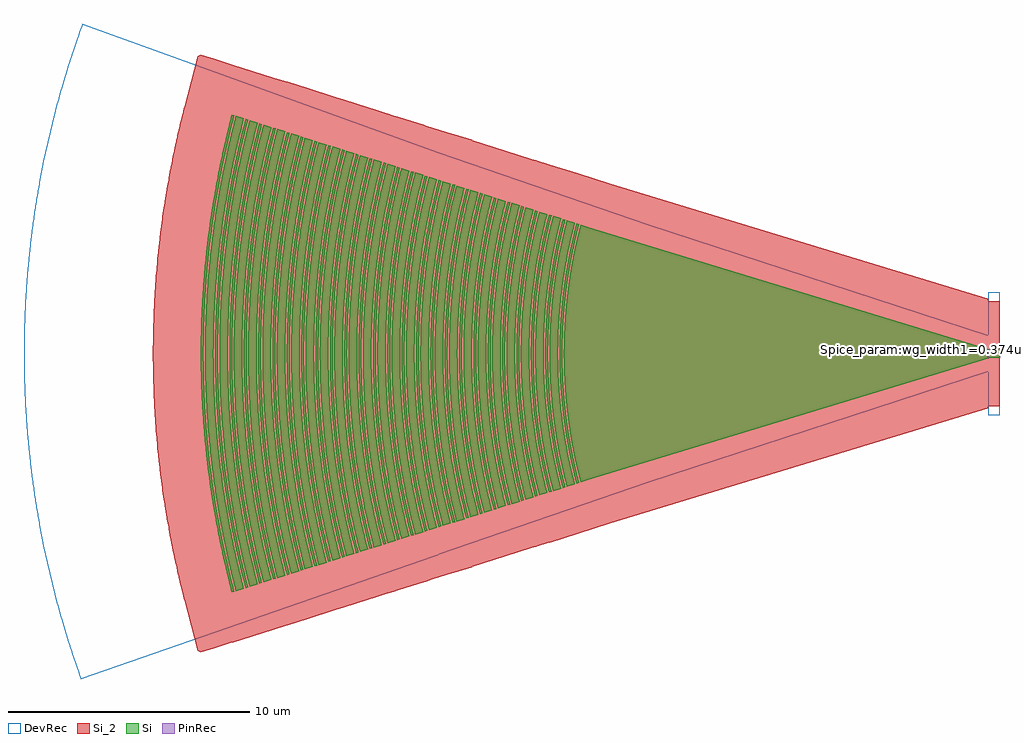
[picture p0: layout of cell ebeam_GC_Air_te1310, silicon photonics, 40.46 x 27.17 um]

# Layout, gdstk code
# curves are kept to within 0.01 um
import gdstk
lib = gdstk.Library(unit=1e-6, precision=1e-09)
def R(c, l, rs):  # rectangles x0, y0, x1, y1
    for r in rs: c.add(gdstk.rectangle(r[:2], r[2:], *l))
def P(c, l, *ps):  # polygons
    for p in ps: c.add(gdstk.Polygon(p, *l))
Si = (1, 0)
Si_2 = (1, 2)
PinRec = (1, 10)
DevRec = (68, 0)

ebeam_gc_air_te1310 = lib.new_cell('ebeam_GC_Air_te1310')
P(ebeam_gc_air_te1310, Si, [(-0.48,-0.187),(-0.48,0.187),(0,0.175),(0,-0.175)],
  [(-31.833,-9.902),(-32.125,-8.725),(-32.351,-7.68),(-32.569,-6.508),(-32.776,-5.144),(-32.916,-3.964),(-33.028,-2.654),(-33.091,-1.469),(-33.119,0.031),(-33.091,1.47),(-33.028,2.655),(-32.916,3.965),(-32.776,5.145),(-32.569,6.509),(-32.351,7.681),(-32.125,8.726),(-31.832,9.903),(-31.73,9.871),(-32.061,8.514),(-32.317,7.288),(-32.552,5.932),(-32.739,4.572),(-32.85,3.517),(-32.932,2.461),(-32.987,1.34),(-33.01,0.157),(-32.995,-1.09),(-32.947,-2.211),(-32.85,-3.516),(-32.739,-4.571),(-32.552,-5.931),(-32.317,-7.287),(-32.061,-8.513),(-31.73,-9.87)],
  [(-31.662,-9.848),(-31.966,-8.617),(-32.249,-7.271),(-32.474,-5.979),(-32.647,-4.746),(-32.78,-3.508),(-32.873,-2.268),(-32.926,-1.025),(-32.939,0.218),(-32.912,1.462),(-32.845,2.703),(-32.738,3.943),(-32.591,5.179),(-32.404,6.412),(-32.189,7.578),(-31.924,8.8),(-31.661,9.849),(-31.333,9.746),(-31.604,8.648),(-31.84,7.56),(-32.054,6.405),(-32.241,5.186),(-32.395,3.901),(-32.505,2.613),(-32.567,1.446),(-32.594,0.155),(-32.581,-1.014),(-32.521,-2.367),(-32.425,-3.593),(-32.305,-4.696),(-32.124,-5.978),(-31.888,-7.316),(-31.632,-8.526),(-31.333,-9.745)],
  [(-31.261,-9.722),(-31.562,-8.506),(-31.818,-7.298),(-32.054,-5.963),(-32.227,-4.746),(-32.366,-3.463),(-32.458,-2.239),(-32.507,-1.134),(-32.524,0.031),(-32.507,1.135),(-32.458,2.24),(-32.366,3.464),(-32.227,4.747),(-32.054,5.964),(-31.818,7.299),(-31.562,8.507),(-31.26,9.723),(-31.158,9.691),(-31.456,8.479),(-31.723,7.216),(-31.956,5.885),(-32.149,4.488),(-32.274,3.269),(-32.346,2.293),(-32.4,1.071),(-32.415,0.154),(-32.405,-0.886),(-32.36,-2.048),(-32.274,-3.268),(-32.149,-4.487),(-31.956,-5.884),(-31.723,-7.215),(-31.456,-8.478),(-31.158,-9.69)],
  [(-31.09,-9.668),(-31.389,-8.459),(-31.655,-7.197),(-31.878,-5.93),(-32.042,-4.78),(-32.188,-3.443),(-32.283,-2.165),(-32.333,-0.945),(-32.344,0.275),(-32.313,1.557),(-32.252,2.653),(-32.153,3.81),(-31.994,5.145),(-31.798,6.415),(-31.559,7.679),(-31.319,8.759),(-31.089,9.669),(-30.761,9.566),(-31.041,8.428),(-31.271,7.36),(-31.509,6.047),(-31.677,4.91),(-31.791,3.949),(-31.903,2.686),(-31.977,1.298),(-31.999,0.152),(-31.981,-1.176),(-31.931,-2.263),(-31.833,-3.527),(-31.7,-4.729),(-31.538,-5.867),(-31.306,-7.181),(-31.068,-8.309),(-30.761,-9.565)],
  [(-30.689,-9.541),(-30.971,-8.407),(-31.236,-7.163),(-31.458,-5.913),(-31.63,-4.718),(-31.757,-3.578),(-31.857,-2.317),(-31.914,-1.053),(-31.929,0.03),(-31.914,1.054),(-31.857,2.318),(-31.757,3.579),(-31.63,4.719),(-31.458,5.914),(-31.236,7.164),(-30.971,8.408),(-30.688,9.542),(-30.585,9.51),(-30.932,8.085),(-31.186,6.844),(-31.388,5.657),(-31.566,4.345),(-31.687,3.149),(-31.752,2.251),(-31.8,1.231),(-31.82,0.151),(-31.81,-0.87),(-31.766,-2.01),(-31.687,-3.148),(-31.566,-4.344),(-31.388,-5.656),(-31.186,-6.843),(-30.932,-8.084),(-30.585,-9.509)],
  [(-30.518,-9.488),(-30.812,-8.301),(-31.05,-7.181),(-31.263,-5.998),(-31.437,-4.81),(-31.543,-3.917),(-31.65,-2.722),(-31.721,-1.467),(-31.749,-0.269),(-31.735,1.048),(-31.682,2.245),(-31.585,3.499),(-31.445,4.751),(-31.263,5.999),(-31.05,7.182),(-30.812,8.302),(-30.518,9.489),(-30.19,9.385),(-30.464,8.269),(-30.678,7.28),(-30.904,6.051),(-31.088,4.818),(-31.23,3.579),(-31.318,2.517),(-31.378,1.392),(-31.404,0.149),(-31.388,-1.095),(-31.33,-2.338),(-31.23,-3.578),(-31.088,-4.817),(-30.904,-6.05),(-30.678,-7.279),(-30.464,-8.268),(-30.19,-9.384)],
  [(-30.118,-9.361),(-30.434,-8.074),(-30.654,-7.027),(-30.872,-5.801),(-31.033,-4.687),(-31.148,-3.687),(-31.252,-2.45),(-31.312,-1.27),(-31.334,-0.03),(-31.314,1.211),(-31.252,2.451),(-31.148,3.688),(-31.033,4.688),(-30.872,5.802),(-30.654,7.028),(-30.434,8.075),(-30.118,9.362),(-30.013,9.33),(-30.275,8.278),(-30.536,7.063),(-30.774,5.724),(-30.947,4.497),(-31.079,3.265),(-31.155,2.267),(-31.209,1.09),(-31.225,0.148),(-31.215,-0.853),(-31.172,-1.972),(-31.109,-2.913),(-30.996,-4.086),(-30.819,-5.432),(-30.603,-6.713),(-30.301,-8.163),(-30.013,-9.329)],
  [(-29.947,-9.307),(-30.248,-8.085),(-30.491,-6.929),(-30.696,-5.768),(-30.856,-4.66),(-30.993,-3.432),(-31.081,-2.319),(-31.142,-0.969),(-31.154,0.265),(-31.124,1.499),(-31.057,2.671),(-30.952,3.843),(-30.833,4.836),(-30.696,5.769),(-30.491,6.93),(-30.248,8.086),(-29.946,9.308),(-29.618,9.205),(-29.861,8.224),(-30.131,6.968),(-30.347,5.762),(-30.499,4.725),(-30.627,3.626),(-30.729,2.41),(-30.779,1.481),(-30.809,0.146),(-30.795,-1.016),(-30.74,-2.235),(-30.644,-3.452),(-30.514,-4.608),(-30.347,-5.761),(-30.131,-6.967),(-29.861,-8.223),(-29.618,-9.204)],
  [(-29.546,-9.181),(-29.804,-8.146),(-30.061,-6.949),(-30.286,-5.69),(-30.451,-4.539),(-30.568,-3.502),(-30.666,-2.287),(-30.723,-1.071),(-30.739,0.029),(-30.723,1.072),(-30.666,2.288),(-30.568,3.503),(-30.421,4.77),(-30.286,5.691),(-30.061,6.95),(-29.804,8.147),(-29.545,9.182),(-29.443,9.15),(-29.763,7.835),(-30.02,6.584),(-30.232,5.328),(-30.392,4.122),(-30.497,3.088),(-30.568,2.108),(-30.616,1.011),(-30.63,0.145),(-30.619,-0.894),(-30.578,-1.933),(-30.502,-3.029),(-30.392,-4.121),(-30.232,-5.327),(-30.02,-6.583),(-29.763,-7.834),(-29.443,-9.149)],
  [(-29.375,-9.127),(-29.605,-8.211),(-29.875,-6.965),(-30.11,-5.656),(-30.274,-4.512),(-30.417,-3.194),(-30.498,-2.101),(-30.55,-0.835),(-30.559,0.26),(-30.532,1.412),(-30.468,2.562),(-30.373,3.654),(-30.244,4.742),(-30.082,5.828),(-29.864,7.022),(-29.605,8.212),(-29.374,9.128),(-29.046,9.025),(-29.336,7.839),(-29.571,6.719),(-29.761,5.649),(-29.925,4.519),(-30.063,3.271),(-30.143,2.249),(-30.197,1.111),(-30.214,0.143),(-30.197,-1.11),(-30.143,-2.248),(-30.063,-3.27),(-29.925,-4.518),(-29.761,-5.648),(-29.571,-6.718),(-29.336,-7.838),(-29.046,-9.024)],
  [(-28.974,-9.001),(-29.24,-7.93),(-29.457,-6.924),(-29.663,-5.803),(-29.847,-4.563),(-29.987,-3.32),(-30.076,-2.186),(-30.13,-0.993),(-30.144,0.028),(-30.13,0.994),(-30.065,2.357),(-29.965,3.547),(-29.847,4.564),(-29.663,5.804),(-29.457,6.925),(-29.24,7.931),(-28.973,9.002),(-28.871,8.97),(-29.16,7.791),(-29.405,6.622),(-29.619,5.39),(-29.782,4.21),(-29.879,3.308),(-29.964,2.236),(-30.018,1.104),(-30.035,0.143),(-30.027,-0.763),(-29.981,-1.952),(-29.914,-2.913),(-29.802,-4.04),(-29.653,-5.165),(-29.437,-6.453),(-29.185,-7.679),(-28.871,-8.969)],
  [(-28.803,-8.947),(-29.055,-7.937),(-29.294,-6.827),(-29.478,-5.823),(-29.663,-4.591),(-29.804,-3.356),(-29.894,-2.229),(-29.951,-0.987),(-29.964,0.255),(-29.945,1.159),(-29.894,2.23),(-29.804,3.357),(-29.663,4.592),(-29.478,5.824),(-29.294,6.828),(-29.055,7.938),(-28.802,8.948),(-28.474,8.845),(-28.746,7.737),(-28.946,6.805),(-29.157,5.646),(-29.314,4.595),(-29.444,3.484),(-29.542,2.316),(-29.604,1.033),(-29.619,0.141),(-29.604,-1.032),(-29.542,-2.315),(-29.444,-3.483),(-29.314,-4.594),(-29.157,-5.645),(-28.946,-6.804),(-28.746,-7.736),(-28.474,-8.844)],
  [(-28.403,-8.82),(-28.676,-7.716),(-28.919,-6.566),(-29.131,-5.355),(-29.251,-4.526),(-29.368,-3.53),(-29.468,-2.364),(-29.532,-1.085),(-29.549,-0.028),(-29.532,1.086),(-29.479,2.198),(-29.39,3.309),(-29.251,4.527),(-29.131,5.356),(-28.919,6.567),(-28.676,7.717),(-28.403,8.821),(-28.298,8.789),(-28.57,7.689),(-28.833,6.434),(-29.015,5.391),(-29.192,4.125),(-29.282,3.297),(-29.374,2.135),(-29.425,1.026),(-29.44,0.14),(-29.428,-0.914),(-29.384,-1.968),(-29.317,-2.909),(-29.218,-3.904),(-29.074,-5.005),(-28.854,-6.323),(-28.619,-7.471),(-28.298,-8.788)],
  [(-28.232,-8.767),(-28.528,-7.56),(-28.755,-6.471),(-28.955,-5.322),(-29.116,-4.169),(-29.247,-2.901),(-29.32,-1.853),(-29.363,-0.691),(-29.369,0.25),(-29.341,1.412),(-29.293,2.295),(-29.196,3.454),(-29.074,4.5),(-28.92,5.543),(-28.734,6.581),(-28.503,7.67),(-28.231,8.768),(-27.903,8.664),(-28.169,7.579),(-28.386,6.558),(-28.589,5.423),(-28.725,4.501),(-28.847,3.467),(-28.945,2.323),(-29.006,1.121),(-29.024,0.138),(-29.011,-0.956),(-28.969,-1.94),(-28.889,-3.031),(-28.767,-4.174),(-28.615,-5.259),(-28.407,-6.449),(-28.169,-7.578),(-27.903,-8.663)],
  [(-27.831,-8.64),(-28.111,-7.505),(-28.347,-6.378),(-28.536,-5.299),(-28.69,-4.217),(-28.793,-3.295),(-28.892,-2.044),(-28.939,-1.008),(-28.954,0.083),(-28.939,1.009),(-28.878,2.262),(-28.793,3.296),(-28.662,4.435),(-28.51,5.462),(-28.305,6.593),(-28.074,7.666),(-27.83,8.641),(-27.728,8.609),(-28.041,7.318),(-28.271,6.194),(-28.454,5.119),(-28.615,3.933),(-28.715,2.959),(-28.787,1.983),(-28.825,1.168),(-28.845,0.137),(-28.836,-0.787),(-28.787,-1.982),(-28.715,-2.958),(-28.615,-3.932),(-28.454,-5.118),(-28.271,-6.193),(-28.029,-7.371),(-27.728,-8.608)],
  [(-27.66,-8.586),(-27.914,-7.564),(-28.152,-6.444),(-28.343,-5.373),(-28.506,-4.244),(-28.65,-2.895),(-28.72,-1.923),(-28.763,-0.893),(-28.774,0.245),(-28.742,1.491),(-28.696,2.302),(-28.599,3.437),(-28.478,4.461),(-28.334,5.429),(-28.131,6.552),(-27.914,7.565),(-27.659,8.587),(-27.331,8.484),(-27.639,7.211),(-27.825,6.315),(-28.003,5.31),(-28.164,4.195),(-28.277,3.182),(-28.362,2.114),(-28.413,1.044),(-28.429,0.135),(-28.419,-0.829),(-28.372,-1.953),(-28.292,-3.021),(-28.164,-4.194),(-28.003,-5.309),(-27.825,-6.314),(-27.639,-7.21),(-27.331,-8.483)],
  [(-27.259,-8.46),(-27.473,-7.609),(-27.734,-6.402),(-27.933,-5.295),(-28.087,-4.235),(-28.196,-3.279),(-28.295,-2.054),(-28.341,-1.094),(-28.359,0.081),(-28.341,1.095),(-28.288,2.162),(-28.196,3.28),(-28.087,4.236),(-27.933,5.296),(-27.734,6.403),(-27.473,7.61),(-27.258,8.461),(-27.156,8.429),(-27.451,7.216),(-27.688,6.065),(-27.899,4.802),(-28.031,3.797),(-28.118,2.949),(-28.19,1.994),(-28.234,1.037),(-28.25,0.134),(-28.24,-0.824),(-28.205,-1.728),(-28.132,-2.789),(-28.031,-3.796),(-27.899,-4.801),(-27.688,-6.064),(-27.451,-7.215),(-27.156,-8.428)],
  [(-27.088,-8.406),(-27.325,-7.457),(-27.57,-6.309),(-27.774,-5.156),(-27.93,-4.05),(-28.053,-2.887),(-28.123,-1.935),(-28.171,-0.769),(-28.179,0.24),(-28.15,1.407),(-28.099,2.307),(-28.013,3.312),(-27.882,4.42),(-27.74,5.367),(-27.539,6.467),(-27.325,7.458),(-27.087,8.407),(-26.758,8.304),(-26.979,7.417),(-27.202,6.388),(-27.417,5.197),(-27.568,4.157),(-27.695,3.01),(-27.772,2.017),(-27.815,1.127),(-27.834,0.132),(-27.82,-0.969),(-27.772,-2.016),(-27.695,-3.009),(-27.568,-4.156),(-27.417,-5.196),(-27.202,-6.387),(-26.979,-7.416),(-26.758,-8.303)],
  [(-26.687,-8.28),(-26.956,-7.191),(-27.132,-6.368),(-27.33,-5.285),(-27.491,-4.197),(-27.594,-3.313),(-27.695,-2.115),(-27.748,-1.018),(-27.764,0.079),(-27.748,1.019),(-27.695,2.116),(-27.594,3.314),(-27.491,4.198),(-27.33,5.286),(-27.132,6.369),(-26.956,7.192),(-26.686,8.281),(-26.583,8.249),(-26.85,7.164),(-27.105,5.935),(-27.288,4.854),(-27.416,3.923),(-27.526,2.886),(-27.593,2.004),(-27.641,0.963),(-27.655,0.131),(-27.645,-0.806),(-27.611,-1.691),(-27.544,-2.677),(-27.464,-3.507),(-27.319,-4.646),(-27.105,-5.934),(-26.85,-7.163),(-26.583,-8.248)],
  [(-26.516,-8.226),(-26.76,-7.246),(-26.968,-6.276),(-27.171,-5.148),(-27.314,-4.169),(-27.432,-3.137),(-27.513,-2.153),(-27.569,-1.011),(-27.584,-0.233),(-27.572,0.909),(-27.523,1.998),(-27.432,3.138),(-27.314,4.17),(-27.171,5.149),(-26.968,6.277),(-26.76,7.247),(-26.516,8.227),(-26.188,8.124),(-26.368,7.408),(-26.621,6.249),(-26.806,5.236),(-26.952,4.271),(-27.068,3.302),(-27.165,2.178),(-27.222,1.051),(-27.239,0.129),(-27.222,-1.05),(-27.175,-2.023),(-27.103,-2.943),(-26.998,-3.913),(-26.831,-5.084),(-26.641,-6.147),(-26.368,-7.407),(-26.188,-8.123)],
  [(-26.116,-8.099),(-26.39,-6.984),(-26.6,-5.978),(-26.761,-5.069),(-26.902,-4.105),(-27.023,-3.038),(-27.108,-1.966),(-27.15,-1.098),(-27.169,0.078),(-27.15,1.099),(-27.098,2.12),(-27.008,3.191),(-26.902,4.106),(-26.761,5.07),(-26.6,5.979),(-26.39,6.985),(-26.115,8.1),(-26.013,8.068),(-26.284,6.957),(-26.474,6.056),(-26.678,4.898),(-26.82,3.888),(-26.915,3.026),(-26.993,2.062),(-27.043,1.044),(-27.06,0.128),(-27.049,-0.839),(-27.017,-1.654),(-26.947,-2.669),(-26.862,-3.532),(-26.709,-4.695),(-26.522,-5.804),(-26.284,-6.956),(-26.013,-8.067)],
  [(-25.945,-8.046),(-26.206,-6.987),(-26.416,-5.988),(-26.577,-5.085),(-26.738,-3.977),(-26.85,-2.966),(-26.926,-2.004),(-26.976,-0.938),(-26.989,0.229),(-26.971,1.092),(-26.916,2.157),(-26.83,3.17),(-26.725,4.079),(-26.577,5.086),(-26.416,5.989),(-26.206,6.988),(-25.944,8.047),(-25.616,7.943),(-25.849,6.996),(-26.069,5.962),(-26.221,5.119),(-26.37,4.126),(-26.487,3.128),(-26.575,2.079),(-26.624,1.128),(-26.644,0.176),(-26.629,-0.976),(-26.575,-2.078),(-26.492,-3.077),(-26.396,-3.926),(-26.269,-4.821),(-26.069,-5.961),(-25.849,-6.995),(-25.616,-7.942)],
  [(-25.544,-7.919),(-25.79,-6.926),(-25.989,-5.992),(-26.159,-5.055),(-26.313,-4.014),(-26.436,-2.919),(-26.508,-2.022),(-26.557,-1.024),(-26.574,0.076),(-26.557,1.025),(-26.508,2.023),(-26.436,2.92),(-26.313,4.015),(-26.159,5.056),(-25.989,5.993),(-25.756,7.074),(-25.543,7.92),(-25.441,7.888),(-25.728,6.704),(-25.939,5.675),(-26.129,4.541),(-26.26,3.553),(-26.363,2.511),(-26.42,1.667),(-26.465,0.125),(-26.458,-0.671),(-26.42,-1.666),(-26.363,-2.51),(-26.26,-3.552),(-26.129,-4.54),(-25.939,-5.674),(-25.728,-6.703),(-25.441,-7.887)],
  [(-25.373,-7.865),(-25.606,-6.928),(-25.843,-5.804),(-26.015,-4.823),(-26.161,-3.789),(-26.276,-2.701),(-26.35,-1.662),(-26.384,-0.818),(-26.394,0.224),(-26.371,1.216),(-26.326,2.059),(-26.248,3),(-26.123,4.086),(-25.975,5.07),(-25.805,6.001),(-25.595,6.977),(-25.372,7.866),(-25.044,7.763),(-25.272,6.837),(-25.468,5.923),(-25.659,4.858),(-25.794,3.935),(-25.91,2.911),(-25.988,1.934),(-26.031,1.053),(-26.049,0.172),(-26.036,-0.905),(-25.988,-1.933),(-25.91,-2.91),(-25.794,-3.934),(-25.659,-4.857),(-25.468,-5.922),(-25.272,-6.836),(-25.044,-7.762)],
  [(-24.972,-7.739),(-25.202,-6.816),(-25.426,-5.759),(-25.589,-4.843),(-25.73,-3.873),(-25.83,-2.998),(-25.911,-2.025),(-25.964,-0.951),(-25.979,0.074),(-25.959,1.099),(-25.911,2.026),(-25.83,2.999),(-25.711,4.02),(-25.549,5.085),(-25.388,5.953),(-25.202,6.817),(-24.971,7.74),(-24.869,7.708),(-25.107,6.741),(-25.347,5.593),(-25.52,4.582),(-25.664,3.52),(-25.758,2.599),(-25.818,1.775),(-25.852,1.046),(-25.87,0.123),(-25.858,-0.85),(-25.818,-1.774),(-25.758,-2.598),(-25.664,-3.519),(-25.52,-4.581),(-25.347,-5.592),(-25.107,-6.74),(-24.869,-7.707)],
  [(-24.801,-7.685),(-25.029,-6.769),(-25.233,-5.814),(-25.421,-4.76),(-25.553,-3.846),(-25.657,-2.929),(-25.745,-1.817),(-25.788,-0.848),(-25.799,0.219),(-25.78,1.091),(-25.726,2.108),(-25.657,2.93),(-25.534,3.992),(-25.357,5.146),(-25.214,5.911),(-25.007,6.865),(-24.8,7.686),(-24.473,7.583),(-24.695,6.678),(-24.905,5.691),(-25.058,4.839),(-25.205,3.843),(-25.304,2.986),(-25.385,2.033),(-25.435,1.077),(-25.454,0.168),(-25.444,-0.789),(-25.406,-1.697),(-25.327,-2.747),(-25.211,-3.795),(-25.081,-4.696),(-24.905,-5.69),(-24.695,-6.677),(-24.473,-7.582)],
  [(-24.401,-7.559),(-24.625,-6.656),(-24.844,-5.625),(-25.003,-4.73),(-25.141,-3.783),(-25.243,-2.882),(-25.321,-1.93),(-25.366,-1.025),(-25.384,-0.071),(-25.372,0.835),(-25.324,1.884),(-25.243,2.883),(-25.141,3.784),(-25.003,4.731),(-24.844,5.626),(-24.625,6.657),(-24.401,7.56),(-24.296,7.528),(-24.572,6.397),(-24.773,5.415),(-24.933,4.475),(-25.068,3.485),(-25.153,2.681),(-25.227,1.686),(-25.262,0.879),(-25.275,0.12),(-25.266,-0.735),(-25.227,-1.685),(-25.165,-2.539),(-25.09,-3.295),(-24.954,-4.334),(-24.773,-5.414),(-24.572,-6.396),(-24.296,-7.527)],
  [(-24.23,-7.505),(-24.463,-6.563),(-24.651,-5.678),(-24.835,-4.649),(-24.97,-3.709),(-25.07,-2.814),(-25.154,-1.727),(-25.198,-0.64),(-25.204,0.214),(-25.182,1.161),(-25.126,2.153),(-25.051,3.004),(-24.939,3.945),(-24.812,4.791),(-24.642,5.725),(-24.42,6.75),(-24.229,7.506),(-23.901,7.403),(-24.097,6.611),(-24.305,5.647),(-24.48,4.678),(-24.61,3.798),(-24.708,2.962),(-24.785,2.078),(-24.835,1.191),(-24.859,0.165),(-24.849,-0.77),(-24.812,-1.657),(-24.735,-2.681),(-24.628,-3.658),(-24.495,-4.584),(-24.341,-5.462),(-24.149,-6.382),(-23.901,-7.402)],
  [(-23.829,-7.378),(-24.069,-6.407),(-24.262,-5.49),(-24.432,-4.525),(-24.575,-3.508),(-24.669,-2.628),(-24.739,-1.698),(-24.78,-0.722),(-24.789,0.07),(-24.77,1.049),(-24.718,2.024),(-24.628,3.046),(-24.521,3.925),(-24.379,4.848),(-24.244,5.583),(-24.048,6.499),(-23.828,7.379),(-23.726,7.347),(-23.963,6.38),(-24.19,5.285),(-24.374,4.185),(-24.489,3.309),(-24.622,1.831),(-24.663,0.997),(-24.68,0.117),(-24.67,-0.764),(-24.633,-1.645),(-24.573,-2.478),(-24.489,-3.308),(-24.374,-4.184),(-24.19,-5.284),(-23.963,-6.379),(-23.726,-7.346)],
  [(-23.658,-7.325),(-23.865,-6.496),(-24.096,-5.405),(-24.256,-4.491),(-24.392,-3.528),(-24.491,-2.608),(-24.563,-1.64),(-24.601,-0.717),(-24.609,0.209),(-24.591,1.041),(-24.536,2.056),(-24.455,2.977),(-24.344,3.896),(-24.219,4.721),(-24.033,5.724),(-23.865,6.497),(-23.657,7.326),(-23.329,7.222),(-23.531,6.405),(-23.75,5.375),(-23.887,4.609),(-24.021,3.706),(-24.112,2.935),(-24.195,1.981),(-24.244,1.071),(-24.264,0.161),(-24.253,-0.796),(-24.21,-1.753),(-24.139,-2.661),(-24.05,-3.478),(-23.909,-4.472),(-23.75,-5.374),(-23.531,-6.404),(-23.329,-7.221)],
  [(-23.257,-7.198),(-23.471,-6.339),(-23.671,-5.401),(-23.853,-4.369),(-23.974,-3.512),(-24.06,-2.744),(-24.134,-1.838),(-24.18,-0.886),(-24.194,0.068),(-24.177,0.978),(-24.134,1.839),(-24.06,2.745),(-23.974,3.513),(-23.853,4.37),(-23.671,5.402),(-23.471,6.34),(-23.256,7.199),(-23.154,7.167),(-23.425,6.046),(-23.607,5.155),(-23.773,4.171),(-23.904,3.183),(-23.977,2.463),(-24.034,1.695),(-24.07,0.927),(-24.085,0.114),(-24.074,-0.79),(-24.049,-1.423),(-23.992,-2.281),(-23.904,-3.182),(-23.773,-4.17),(-23.607,-5.154),(-23.415,-6.09),(-23.154,-7.166)],
  [(-23.086,-7.144),(-23.278,-6.38),(-23.488,-5.405),(-23.641,-4.559),(-23.808,-3.396),(-23.899,-2.544),(-23.969,-1.599),(-24.005,-0.744),(-24.014,0.204),(-23.993,1.105),(-23.943,2.005),(-23.873,2.814),(-23.773,3.666),(-23.641,4.56),(-23.488,5.406),(-23.278,6.381),(-23.085,7.145),(-22.756,7.042),(-22.954,6.245),(-23.142,5.372),(-23.294,4.537),(-23.432,3.613),(-23.516,2.906),(-23.592,2.065),(-23.648,1.088),(-23.669,0.157),(-23.657,-0.821),(-23.619,-1.665),(-23.543,-2.639),(-23.449,-3.479),(-23.294,-4.536),(-23.142,-5.371),(-22.954,-6.244),(-22.756,-7.041)],
  [(-22.685,-7.018),(-22.874,-6.267),(-23.072,-5.352),(-23.231,-4.478),(-23.379,-3.468),(-23.481,-2.543),(-23.546,-1.703),(-23.588,-0.775),(-23.599,0.066),(-23.584,0.909),(-23.543,1.749),(-23.464,2.72),(-23.356,3.645),(-23.231,4.479),(-23.072,5.353),(-22.874,6.268),(-22.684,7.019),(-22.581,6.987),(-22.818,6.023),(-22.999,5.156),(-23.166,4.196),(-23.298,3.234),(-23.396,2.269),(-23.443,1.609),(-23.478,0.816),(-23.49,0.111),(-23.455,-1.387),(-23.41,-2.092),(-23.333,-2.926),(-23.199,-3.977),(-23.032,-4.981),(-22.818,-6.022),(-22.581,-6.986)],
  [(-22.514,-6.964),(-22.671,-6.347),(-22.889,-5.354),(-23.041,-4.531),(-23.179,-3.616),(-23.286,-2.698),(-23.353,-1.909),(-23.402,-0.989),(-23.419,-0.198),(-23.409,0.77),(-23.37,1.647),(-23.303,2.524),(-23.196,3.486),(-23.041,4.532),(-22.906,5.269),(-22.751,6.003),(-22.514,6.965),(-22.186,6.862),(-22.397,5.999),(-22.569,5.191),(-22.687,4.55),(-22.843,3.52),(-22.947,2.615),(-23.017,1.753),(-23.055,1.017),(-23.074,0.153),(-23.065,-0.713),(-23.028,-1.579),(-22.967,-2.4),(-22.86,-3.39),(-22.757,-4.12),(-22.569,-5.19),(-22.397,-5.998),(-22.186,-6.861)],
  [(-22.114,-6.838),(-22.327,-5.978),(-22.507,-5.13),(-22.68,-4.149),(-22.795,-3.336),(-22.885,-2.521),(-22.955,-1.617),(-22.992,-0.798),(-23.004,0.065),(-22.988,0.929),(-22.947,1.747),(-22.885,2.522),(-22.784,3.422),(-22.68,4.15),(-22.507,5.131),(-22.327,5.979),(-22.113,6.839),(-22.011,6.807),(-22.259,5.783),(-22.449,4.853),(-22.605,3.918),(-22.728,2.98),(-22.844,1.653),(-22.882,0.837),(-22.895,0.108),(-22.889,-0.58),(-22.861,-1.352),(-22.807,-2.166),(-22.728,-2.979),(-22.605,-3.917),(-22.449,-4.852),(-22.259,-5.782),(-22.011,-6.806)],
  [(-21.943,-6.784),(-22.164,-5.889),(-22.341,-5.047),(-22.504,-4.116),(-22.607,-3.394),(-22.707,-2.501),(-22.779,-1.561),(-22.813,-0.792),(-22.824,0.193),(-22.809,0.921),(-22.771,1.69),(-22.707,2.502),(-22.596,3.48),(-22.504,4.117),(-22.341,5.048),(-22.164,5.89),(-21.942,6.785),(-21.614,6.682),(-21.801,5.924),(-21.979,5.096),(-22.137,4.221),(-22.254,3.428),(-22.347,2.631),(-22.421,1.749),(-22.459,1.033),(-22.479,0.149),(-22.469,-0.737),(-22.439,-1.453),(-22.375,-2.335),(-22.281,-3.217),(-22.157,-4.095),(-22.027,-4.846),(-21.848,-5.716),(-21.614,-6.681)],
  [(-21.542,-6.657),(-21.75,-5.821),(-21.909,-5.077),(-22.06,-4.247),(-22.184,-3.414),(-22.285,-2.538),(-22.356,-1.658),(-22.396,-0.819),(-22.409,0.063),(-22.387,1.072),(-22.342,1.868),(-22.268,2.706),(-22.184,3.415),(-22.06,4.248),(-21.909,5.078),(-21.75,5.822),(-21.541,6.658),(-21.438,6.626),(-21.644,5.793),(-21.858,4.765),(-21.999,3.938),(-22.123,3.025),(-22.245,1.693),(-22.286,0.857),(-22.3,0.106),(-22.269,-1.274),(-22.221,-2.024),(-22.142,-2.858),(-22.03,-3.731),(-21.881,-4.641),(-21.681,-5.628),(-21.438,-6.625)],
  [(-21.371,-6.604),(-21.539,-5.937),(-21.71,-5.159),(-21.891,-4.172),(-22.023,-3.263),(-22.119,-2.392),(-22.19,-1.436),(-22.225,-0.479),(-22.229,0.188),(-22.213,0.938),(-22.172,1.728),(-22.103,2.559),(-22.007,3.388),(-21.891,4.173),(-21.71,5.16),(-21.539,5.938),(-21.37,6.605),(-21.041,6.501),(-21.196,5.885),(-21.373,5.08),(-21.538,4.188),(-21.66,3.376),(-21.743,2.682),(-21.822,1.783),(-21.863,1.046),(-21.884,0.145),(-21.873,-0.758),(-21.833,-1.618),(-21.779,-2.313),(-21.676,-3.252),(-21.558,-4.065),(-21.421,-4.836),(-21.252,-5.642),(-21.041,-6.5)],
  [(-20.97,-6.477),(-21.191,-5.582),(-21.359,-4.778),(-21.507,-3.93),(-21.616,-3.16),(-21.705,-2.346),(-21.765,-1.572),(-21.804,-0.715),(-21.814,0.061),(-21.8,0.839),(-21.76,1.654),(-21.681,2.592),(-21.595,3.323),(-21.481,4.093),(-21.343,4.86),(-21.154,5.744),(-20.969,6.478),(-20.866,6.446),(-21.086,5.556),(-21.26,4.716),(-21.412,3.832),(-21.542,2.862),(-21.664,1.443),(-21.705,0.103),(-21.694,-0.751),(-21.664,-1.442),(-21.542,-2.861),(-21.412,-3.831),(-21.26,-4.715),(-21.086,-5.555),(-20.866,-6.445)],
  [(-20.799,-6.423),(-21.009,-5.576),(-21.169,-4.818),(-21.292,-4.138),(-21.418,-3.294),(-21.499,-2.609),(-21.576,-1.72),(-21.612,-1.073),(-21.634,-0.223),(-21.629,0.547),(-21.596,1.398),(-21.538,2.206),(-21.444,3.094),(-21.331,3.898),(-21.169,4.819),(-21.009,5.577),(-20.799,6.424),(-20.471,6.321),(-20.621,5.721),(-20.824,4.781),(-20.946,4.111),(-21.071,3.282),(-21.156,2.568),(-21.226,1.773),(-21.27,0.977),(-21.289,0.141),(-21.276,-0.816),(-21.234,-1.653),(-21.168,-2.448),(-21.071,-3.281),(-20.946,-4.11),(-20.824,-4.78),(-20.621,-5.72),(-20.471,-6.32)],
  [(-20.398,-6.297),(-20.55,-5.699),(-20.746,-4.801),(-20.882,-4.057),(-21.006,-3.229),(-21.109,-2.321),(-21.169,-1.568),(-21.208,-0.735),(-21.219,-0.06),(-21.208,0.736),(-21.169,1.569),(-21.109,2.322),(-21.006,3.23),(-20.882,4.058),(-20.746,4.802),(-20.55,5.7),(-20.398,6.298),(-20.296,6.266),(-20.516,5.361),(-20.692,4.506),(-20.819,3.764),(-20.938,2.9),(-21.063,1.521),(-21.11,0.139),(-21.098,-0.77),(-21.07,-1.402),(-20.965,-2.663),(-20.849,-3.566),(-20.692,-4.505),(-20.516,-5.36),(-20.296,-6.265)],
  [(-20.228,-6.243),(-20.405,-5.535),(-20.602,-4.605),(-20.726,-3.905),(-20.859,-2.967),(-20.935,-2.261),(-21,-1.397),(-21.035,-0.492),(-21.039,0.217),(-21.016,1.084),(-20.977,1.751),(-20.908,2.537),(-20.824,3.241),(-20.7,4.062),(-20.564,4.8),(-20.405,5.536),(-20.227,6.244),(-19.899,6.141),(-20.071,5.444),(-20.227,4.721),(-20.367,3.955),(-20.472,3.265),(-20.548,2.649),(-20.63,1.761),(-20.674,0.988),(-20.694,0.137),(-20.686,-0.638),(-20.653,-1.412),(-20.595,-2.185),(-20.512,-2.956),(-20.398,-3.764),(-20.257,-4.567),(-20.097,-5.329),(-19.899,-6.14)],
  [(-19.827,-6.117),(-20.027,-5.308),(-20.187,-4.549),(-20.322,-3.788),(-20.432,-3.022),(-20.51,-2.33),(-20.573,-1.561),(-20.611,-0.791),(-20.624,0.058),(-20.611,0.792),(-20.573,1.562),(-20.51,2.331),(-20.407,3.214),(-20.297,3.941),(-20.157,4.702),(-19.992,5.46),(-19.826,6.118),(-19.724,6.086),(-19.921,5.282),(-20.102,4.414),(-20.25,3.541),(-20.361,2.702),(-20.474,1.401),(-20.515,0.135),(-20.49,-1.093),(-20.454,-1.707),(-20.374,-2.586),(-20.267,-3.426),(-20.102,-4.413),(-19.921,-5.281),(-19.724,-6.085)],
  [(-19.656,-6.063),(-19.837,-5.337),(-20.005,-4.547),(-20.14,-3.792),(-20.255,-2.995),(-20.343,-2.195),(-20.406,-1.357),(-20.44,-0.477),(-20.444,0.211),(-20.423,1.014),(-20.381,1.739),(-20.324,2.388),(-20.23,3.186),(-20.14,3.793),(-20.005,4.548),(-19.837,5.338),(-19.655,6.064),(-19.326,5.96),(-19.528,5.136),(-19.675,4.434),(-19.818,3.616),(-19.913,2.945),(-19.996,2.196),(-20.047,1.56),(-20.084,0.846),(-20.099,0.133),(-20.089,-0.696),(-20.059,-1.371),(-19.996,-2.195),(-19.913,-2.944),(-19.818,-3.615),(-19.675,-4.433),(-19.528,-5.135),(-19.326,-5.959)],
  [(-19.255,-5.936),(-19.441,-5.189),(-19.583,-4.526),(-19.699,-3.898),(-19.838,-2.969),(-19.922,-2.225),(-19.977,-1.552),(-20.015,-0.805),(-20.029,0.056),(-20.015,0.806),(-19.977,1.553),(-19.911,2.338),(-19.833,3.008),(-19.699,3.899),(-19.583,4.527),(-19.407,5.336),(-19.254,5.937),(-19.151,5.905),(-19.36,5.052),(-19.533,4.209),(-19.663,3.435),(-19.775,2.584),(-19.878,1.396),(-19.92,0.131),(-19.894,-1.098),(-19.858,-1.693),(-19.775,-2.583),(-19.663,-3.434),(-19.533,-4.208),(-19.36,-5.051),(-19.151,-5.904)],
  [(-19.084,-5.882),(-19.26,-5.178),(-19.416,-4.448),(-19.554,-3.679),(-19.675,-2.832),(-19.751,-2.131),(-19.81,-1.353),(-19.846,-0.426),(-19.849,0.205),(-19.832,0.91),(-19.796,1.576),(-19.744,2.206),(-19.661,2.943),(-19.554,3.68),(-19.416,4.449),(-19.26,5.179),(-19.083,5.883),(-18.754,5.78),(-18.902,5.196),(-19.05,4.515),(-19.172,3.867),(-19.3,3.037),(-19.386,2.311),(-19.449,1.585),(-19.488,0.857),(-19.504,0.129),(-19.493,-0.711),(-19.461,-1.402),(-19.404,-2.129),(-19.319,-2.891),(-19.208,-3.65),(-19.05,-4.514),(-18.902,-5.195),(-18.754,-5.779)],
  [(-18.684,-5.756),(-18.864,-5.031),(-18.994,-4.424),(-19.138,-3.636),(-19.244,-2.915),(-19.323,-2.23),(-19.386,-1.469),(-19.424,-0.672),(-19.434,-0.054),(-19.424,0.673),(-19.395,1.325),(-19.337,2.086),(-19.258,2.808),(-19.05,4.139),(-18.864,5.032),(-18.684,5.757),(-18.579,5.725),(-18.759,5.005),(-18.916,4.258),(-19.065,3.401),(-19.172,2.613),(-19.282,1.39),(-19.325,0.127),(-19.3,-1.064),(-19.204,-2.324),(-19.097,-3.185),(-18.943,-4.115),(-18.759,-5.004),(-18.579,-5.724)],
  [(-18.512,-5.702),(-18.675,-5.054),(-18.806,-4.453),(-18.926,-3.815),(-19.053,-2.995),(-19.138,-2.28),(-19.195,-1.634),(-19.236,-0.917),(-19.254,-0.198),(-19.248,0.558),(-19.212,1.384),(-19.159,2.066),(-19.085,2.746),(-18.985,3.459),(-18.855,4.206),(-18.675,5.055),(-18.512,5.703),(-18.184,5.6),(-18.342,4.963),(-18.504,4.2),(-18.716,2.907),(-18.802,2.169),(-18.858,1.5),(-18.895,0.795),(-18.909,0.125),(-18.895,-0.794),(-18.865,-1.393),(-18.802,-2.168),(-18.73,-2.8),(-18.634,-3.465),(-18.504,-4.199),(-18.342,-4.962),(-18.184,-5.599)],
  [(-18.112,-5.576),(-18.271,-4.942),(-18.427,-4.216),(-18.558,-3.487),(-18.655,-2.824),(-18.735,-2.125),(-18.797,-1.353),(-18.827,-0.721),(-18.839,0.053),(-18.797,1.354),(-18.735,2.126),(-18.655,2.825),(-18.558,3.488),(-18.427,4.217),(-18.271,4.943),(-18.111,5.577),(-18.009,5.545),(-18.212,4.708),(-18.373,3.917),(-18.499,3.155),(-18.59,2.461),(-18.684,1.416),(-18.73,0.123),(-18.704,-1.066),(-18.609,-2.286),(-18.509,-3.086),(-18.373,-3.916),(-18.212,-4.707),(-18.009,-5.544)],
  [(-17.941,-5.522),(-18.114,-4.825),(-18.266,-4.106),(-18.371,-3.522),(-18.487,-2.727),(-18.567,-2),(-18.616,-1.374),(-18.654,-0.504),(-18.659,0.192),(-18.609,1.479),(-18.557,2.105),(-18.469,2.866),(-18.371,3.523),(-18.239,4.244),(-18.114,4.826),(-17.94,5.523),(-17.612,5.42),(-17.902,4.165),(-18.02,3.524),(-18.118,2.881),(-18.2,2.201),(-18.26,1.52),(-18.298,0.837),(-18.314,0.121),(-18.304,-0.665),(-18.267,-1.417),(-18.145,-2.676),(-18.053,-3.32),(-17.922,-4.063),(-17.795,-4.668),(-17.612,-5.419)],
  [(-17.54,-5.396),(-17.702,-4.748),(-17.832,-4.146),(-17.961,-3.441),(-18.066,-2.732),(-18.14,-2.09),(-18.199,-1.377),(-18.23,-0.766),(-18.244,0.051),(-18.23,0.767),(-18.199,1.378),(-18.14,2.091),(-18.066,2.733),(-17.961,3.442),(-17.832,4.147),(-17.702,4.749),(-17.539,5.397),(-17.437,5.365),(-17.641,4.522),(-17.777,3.856),(-17.926,2.953),(-18.007,2.313),(-18.108,1.066),(-18.135,0.119),(-18.108,-1.065),(-18.018,-2.211),(-17.926,-2.952),(-17.777,-3.855),(-17.641,-4.521),(-17.437,-5.364)],
  [(-17.369,-5.342),(-17.537,-4.668),(-17.671,-4.038),(-17.807,-3.273),(-17.889,-2.705),(-18.011,-1.497),(-18.05,-0.791),(-18.064,-0.185),(-18.038,1.061),(-17.993,1.733),(-17.902,2.605),(-17.807,3.274),(-17.671,4.039),(-17.537,4.669),(-17.369,5.343),(-0.464,0.187),(-0.464,-0.187)])
P(ebeam_gc_air_te1310, Si_2, [(-0.48,-2.187),(-0.48,2.187),(0,2.175),(0,-2.175)],
  [(-33.129,-12.391),(-33.249,-12.324),(-33.983,-9.49),(-34.295,-8.075),(-34.493,-7.028),(-34.611,-6.313),(-34.817,-4.822),(-34.978,-3.189),(-35.07,-1.627),(-35.103,-0.047),(-35.076,1.47),(-34.983,3.127),(-34.817,4.823),(-34.611,6.314),(-34.311,7.997),(-33.983,9.491),(-33.249,12.325),(-33.129,12.392),(-16.14,7.039),(-0.48,2.266),(-0.48,-2.266),(-16.14,-7.038)])
R(ebeam_gc_air_te1310, DevRec, [(-0.48,-2.549,0,2.549)])
P(ebeam_gc_air_te1310, DevRec, [(-38.087,-13.5),(-38.633,-11.879),(-39.107,-10.245),(-39.491,-8.679),(-39.858,-6.832),(-40.016,-5.858),(-40.127,-5.058),(-40.315,-3.274),(-40.415,-1.661),(-40.442,-0.763),(-40.449,0.224),(-40.403,1.929),(-40.292,3.541),(-40.192,4.523),(-40.079,5.414),(-39.811,7.097),(-39.491,8.679),(-39.285,9.551),(-39.037,10.505),(-38.525,12.22),(-38.026,13.669),(-23.28,8.353),(-14.589,5.36),(-0.48,0.75),(-0.48,-0.75),(-14.589,-5.36),(-23.276,-8.351)])
ebeam_gc_air_te1310.add(gdstk.FlexPath([(-0.01,0),(0.01,0)], 0.35, ends="flush", simple_path=True, layer=1, datatype=10))  # PinRec
ebeam_gc_air_te1310.add(gdstk.FlexPath([(-0.47,0),(-0.49,0)], 0.374, ends="flush", simple_path=True, layer=1, datatype=10))  # PinRec
ebeam_gc_air_te1310.add(gdstk.FlexPath([(-0.49,0),(-0.47,0)], 0.35, ends="flush", simple_path=True, layer=1, datatype=10))  # PinRec
ebeam_gc_air_te1310.add(gdstk.Label('Spice_param:wg_width1=0.374u wg_width2=0.350u wg_length=0.480u', (-0.432,0.187), layer=68, texttype=0))
ebeam_gc_air_te1310.add(gdstk.Label('Component=ebeam_taper_te1550', (-0.432,0.093), layer=68, texttype=0))
ebeam_gc_air_te1310.add(gdstk.Label('Lumerical_INTERCONNECT_library=Design kits/ebeam', (-0.443,0), layer=68, texttype=0))
ebeam_gc_air_te1310.add(gdstk.Label('pin2', (0,0), layer=1, texttype=10))
ebeam_gc_air_te1310.add(gdstk.Label('pin1', (-0.48,0), layer=1, texttype=10))
ebeam_gc_air_te1310.add(gdstk.Label('opt1', (-0.48,0), layer=1, texttype=10))

lib.write_gds('ebeam_GC_Air_te1310.gds')
